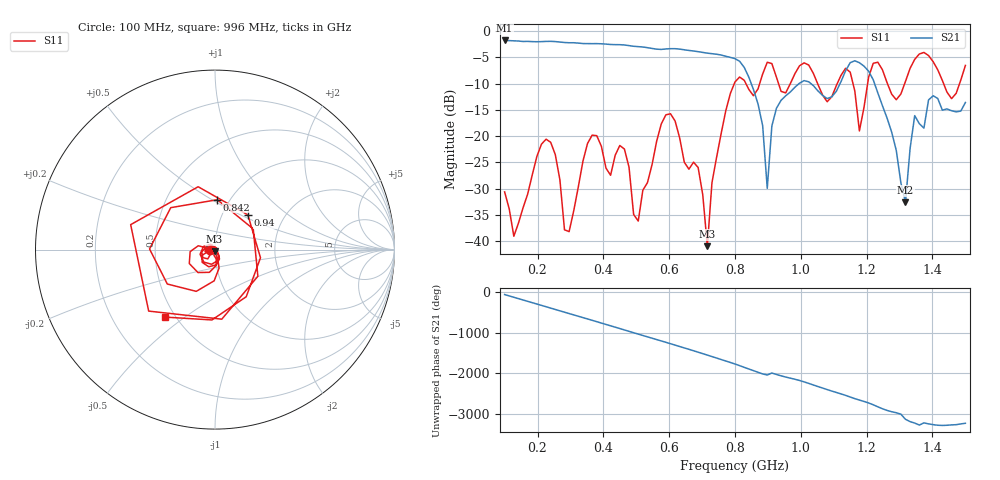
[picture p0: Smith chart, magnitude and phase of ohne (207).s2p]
! NanoVNA-App
! Date: 2025-09-25 14:22:24
! Start: 100MHz Stop: 1,5GHz Points: 101
! S-Parameter data: F S11 S21 S12 S22
# Hz S RI R 50
!  Frequency  S11_Real  S11_Imag  S21_Real  S21_Imag  S12_Real  S12_Imag  S22_Real  S22_Imag
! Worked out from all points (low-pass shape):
!   101 points, 100 MHz to 1.5 GHz, reference 50 ohm
!   highest |S21| = -1.79 dB at 100 MHz (marker M1); lowest = -32.6 dB at 1.318 GHz (marker M2)
!   |S21| within 3 dB of the highest: start of sweep to 771.3 MHz
!   lowest |S11| = -41.0 dB at 716 MHz (marker M3), VSWR 1.02, Z = 49.7 - j0.845 ohm
!   |S11| at or under -10 dB: start of sweep to 798 MHz; 833 MHz to 875 MHz (42.01 MHz wide, 4.92 % of centre); 1.051 GHz to 1.111 GHz (59.82 MHz wide, 5.53 % of centre) (the widest 3 of 7)
!   S12 and S22 are empty: the file has one direction only
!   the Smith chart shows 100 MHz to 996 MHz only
!   S11 on the Smith chart (normalised r, x): 100 MHz: 0.94, -0.01; 842 MHz: 0.88, +0.53; 940 MHz: 1.32, +0.55; 996 MHz: 0.44, -0.42
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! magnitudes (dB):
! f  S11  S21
! 100 MHz  -30.6  -1.8
! 128 MHz  -39.1  -1.9
! 226 MHz  -20.6  -2.0
! 296 MHz  -38.2  -2.2
! 338 MHz  -24.8  -2.4
! 464 MHz  -22.5  -2.7
! 506 MHz  -36.2  -3.0
! 576 MHz  -17.7  -3.5
! 688 MHz  -26.0  -3.9
! 716 MHz  -41.0  -4.2
! 800 MHz  -9.7  -5.3
! 842 MHz  -11.1  -8.8
! 898 MHz  -6.0  -30.0
! 940 MHz  -11.5  -13.2
! 996 MHz  -6.6  -9.9
! 1.038 GHz  -8.1  -10.4
! 1.178 GHz  -19.0  -6.0
! 1.22 GHz  -6.1  -9.3
! 1.276 GHz  -12.0  -19.3
! 1.318 GHz  -9.6  -32.6
! 1.346 GHz  -5.4  -16.1
! 1.5 GHz  -6.6  -13.6
